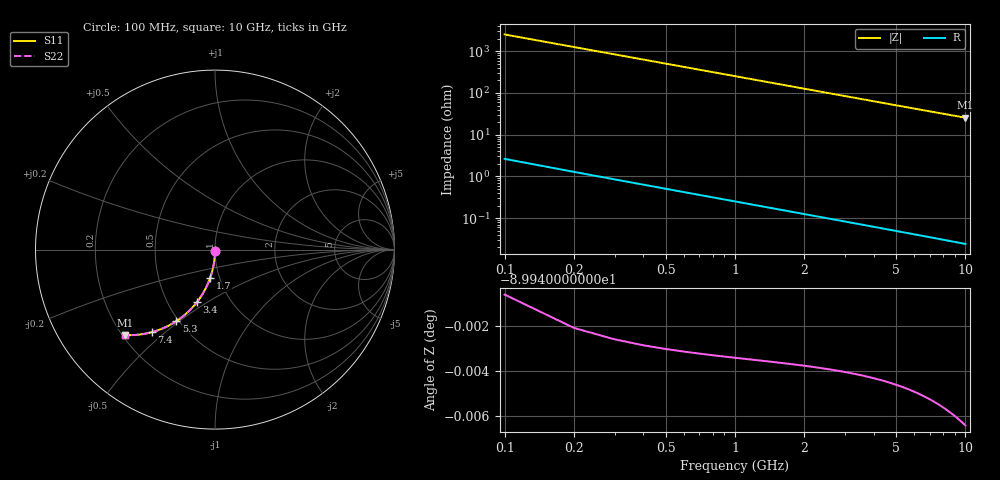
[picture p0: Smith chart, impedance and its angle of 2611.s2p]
# Hz S RI R 50.00
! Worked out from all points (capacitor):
!   100 points, 100 MHz to 10 GHz, reference 50 ohm
!   read as one part in shunt: C = 627 fF near 100 MHz
!   lowest |Z| = 25.6 ohm at 10 GHz (marker M1)
!   S11 on the Smith chart (normalised r, x): 100 MHz: 1.00, -0.02; 1.7 GHz: 0.90, -0.29; 3.4 GHz: 0.70, -0.45; 5.3 GHz: 0.48, -0.49; 7.4 GHz: 0.33, -0.45; 10 GHz: 0.21, -0.38
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1e8  -5.73e-05 -0.00962  0.9998 -0.0101  0.9998 -0.0101  -5.73e-05 -0.00962
2e8  -0.000357 -0.0192  0.9995 -0.0201  0.9995 -0.0201  -0.000357 -0.0192
3e8  -0.00085 -0.0288  0.999 -0.0302  0.999 -0.0302  -0.00085 -0.0288
4e8  -0.00154 -0.0384  0.9984 -0.0402  0.9984 -0.0402  -0.00154 -0.0384
5e8  -0.00241 -0.048  0.9975 -0.0502  0.9975 -0.0502  -0.00241 -0.048
6e8  -0.00348 -0.0575  0.9964 -0.0602  0.9964 -0.0602  -0.00348 -0.0575
8e8  -0.00619 -0.0765  0.9937 -0.0801  0.9937 -0.0801  -0.00619 -0.0765
1.1e9  -0.0117 -0.1046  0.9882 -0.1096  0.9882 -0.1096  -0.0117 -0.1046
1.4e9  -0.0187 -0.1322  0.9811 -0.1385  0.9811 -0.1385  -0.0187 -0.1322
1.7e9  -0.0274 -0.1591  0.9725 -0.1668  0.9725 -0.1668  -0.0274 -0.1591
1.8e9  -0.0306 -0.1679  0.9692 -0.176  0.9692 -0.176  -0.0306 -0.1679
2.1e9  -0.0412 -0.1937  0.9586 -0.2033  0.9586 -0.2033  -0.0412 -0.1937
2.5e9  -0.0575 -0.2267  0.9424 -0.2381  0.9424 -0.2381  -0.0575 -0.2267
2.9e9  -0.0759 -0.2578  0.9239 -0.271  0.9239 -0.271  -0.0759 -0.2578
3.4e9  -0.1015 -0.2939  0.8983 -0.3094  0.8983 -0.3094  -0.1015 -0.2939
4.2e9  -0.1472 -0.3444  0.8525 -0.3636  0.8525 -0.3636  -0.1472 -0.3444
5.1e9  -0.2033 -0.3904  0.7963 -0.4138  0.7963 -0.4138  -0.2033 -0.3904
5.3e9  -0.2161 -0.3991  0.7835 -0.4234  0.7835 -0.4234  -0.2161 -0.3991
6.7e9  -0.3067 -0.4452  0.6927 -0.4763  0.6927 -0.4763  -0.3067 -0.4452
7.4e9  -0.351 -0.4597  0.6483 -0.4941  0.6483 -0.4941  -0.351 -0.4597
8.4e9  -0.4114 -0.4721  0.5877 -0.5113  0.5877 -0.5113  -0.4114 -0.4721
1e10  -0.4989 -0.476  0.4999 -0.523  0.4999 -0.523  -0.4989 -0.476
